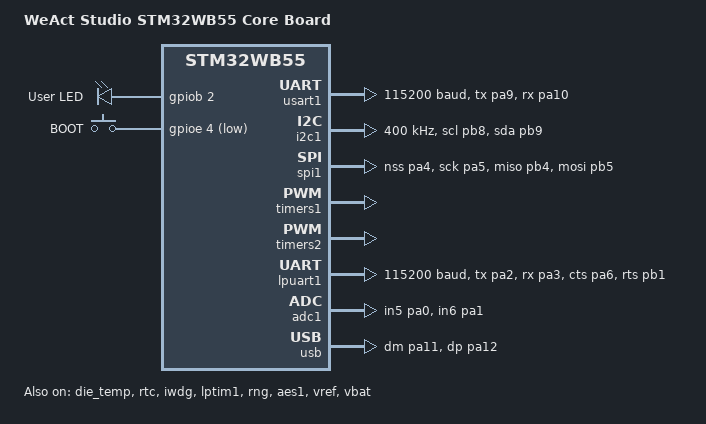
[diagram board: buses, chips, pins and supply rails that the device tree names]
/*
 * Copyright (c) 2025 Siratul Islam
 *
 * SPDX-License-Identifier: Apache-2.0
 */

/dts-v1/;
#include <st/wb/stm32wb55Xg.dtsi>
#include <st/wb/stm32wb55cgux-pinctrl.dtsi>
#include <zephyr/dt-bindings/input/input-event-codes.h>

/ {
	model = "WeAct Studio STM32WB55 Core Board";
	compatible = "weact,stm32wb55-core";

	chosen {
		zephyr,console = &usart1;
		zephyr,shell-uart = &usart1;
		zephyr,bt-mon-uart = &lpuart1;
		zephyr,bt-c2h-uart = &lpuart1;
		zephyr,sram = &sram0;
		zephyr,flash = &flash0;
		zephyr,code-partition = &slot0_partition;
	};

	leds: leds {
		compatible = "gpio-leds";

		blue_led: led_0 {
			gpios = <&gpiob 2 GPIO_ACTIVE_HIGH>;
			label = "User LED";
		};
	};

	gpio_keys {
		compatible = "gpio-keys";

		boot_button: button_0 {
			label = "BOOT";
			gpios = <&gpioe 4 (GPIO_ACTIVE_LOW | GPIO_PULL_UP)>;
			zephyr,code = <INPUT_KEY_0>;
		};
	};

	aliases {
		led0 = &blue_led;
		mcuboot-led0 = &blue_led;
		sw0 = &boot_button;
		mcuboot-button0 = &boot_button;
		watchdog0 = &iwdg;
		die-temp0 = &die_temp;
		volt-sensor0 = &vref;
		volt-sensor1 = &vbat;
	};
};

&die_temp {
	status = "okay";
};

&clk_lsi1 {
	status = "okay";
};

&clk_hse {
	status = "okay";
};

&clk_lse {
	status = "okay";
};

&clk_hsi48 {
	status = "okay";
};

&clk48 {
	/* Node is disabled by default as default source is HSI48 */
	/* To select another clock, enable the node */
	clocks = <&rcc STM32_SRC_HSI48 CLK48_SEL(0)>;
};

&rcc {
	clocks = <&clk_hse>;
	clock-frequency = <DT_FREQ_M(32)>;
	cpu1-prescaler = <1>;
	cpu2-prescaler = <1>;
	ahb4-prescaler = <1>;
	apb1-prescaler = <1>;
	apb2-prescaler = <1>;
};

&usart1 {
	pinctrl-0 = <&usart1_tx_pa9 &usart1_rx_pa10>;
	pinctrl-names = "default";
	current-speed = <115200>;
	status = "okay";
};

&i2c1 {
	pinctrl-0 = <&i2c1_scl_pb8 &i2c1_sda_pb9>;
	pinctrl-names = "default";
	status = "okay";
	clock-frequency = <I2C_BITRATE_FAST>;
};

&rtc {
	clocks = <&rcc STM32_CLOCK(APB1, 10)>,
		 <&rcc STM32_SRC_LSI RTC_SEL(2)>;
	status = "okay";

	backup_regs {
		status = "okay";
	};
};

&spi1 {
	pinctrl-0 = <&spi1_nss_pa4 &spi1_sck_pa5
		     &spi1_miso_pb4 &spi1_mosi_pb5>;
	pinctrl-names = "default";
	status = "okay";
};

&timers1 {
	st,prescaler = <10000>;
	status = "okay";

	pwm1: pwm {
		status = "okay";
		pinctrl-0 = <&tim1_ch1_pa8>;
		pinctrl-names = "default";
	};
};

&timers2 {
	status = "okay";

	pwm2: pwm {
		status = "okay";
		pinctrl-0 = <&tim2_ch1_pa15>;
		pinctrl-names = "default";
	};
};

&lpuart1 {
	pinctrl-0 = <&lpuart1_tx_pa2 &lpuart1_rx_pa3
		     &lpuart1_cts_pa6 &lpuart1_rts_pb1>;
	hw-flow-control;
	pinctrl-names = "default";
	current-speed = <115200>;
	status = "okay";
};

&adc1 {
	pinctrl-0 = <&adc1_in5_pa0 &adc1_in6_pa1>;
	pinctrl-names = "default";
	st,adc-clock-source = "SYNC";
	st,adc-prescaler = <4>;
	status = "okay";
};

&iwdg {
	status = "okay";
};

stm32_lp_tick_source: &lptim1 {
	clocks = <&rcc STM32_CLOCK(APB1, 31)>,
		 <&rcc STM32_SRC_LSE LPTIM1_SEL(3)>;
	status = "okay";
};

zephyr_udc0: &usb {
	status = "okay";
	pinctrl-0 = <&usb_dm_pa11 &usb_dp_pa12>;
	pinctrl-names = "default";
};

&rng {
	status = "okay";
};

&aes1 {
	status = "okay";
};

&flash0 {
	partitions {
		compatible = "fixed-partitions";
		#address-cells = <1>;
		#size-cells = <1>;

		/*
		 * STM32WB55CGU6 Flash Layout (1MB total)
		 *
		 * 0x08000000 - 0x080D9FFF : M4 Application Space (872KB)
		 * 0x080DA000 - 0x080DAFFF : Reserved Gap (4KB)
		 * 0x080DB000 - 0x080FFFFF : M0+ Wireless Stack (148KB)
		 *
		 * Current M0+ Wireless Stack: BLE_HCILayer_extended @ 0x080DB000 V1.23.0
		 *
		 * Wireless Stack Options (STM32WB5xxG 1M):
		 * - BLE_HCILayer_extended: 0x080DB000
		 * - BLE_HCILayer: 0x080E1000
		 * - BLE_HCI_AdvScan: 0x080EB000
		 * - FUS v2.1.0: 0x080EE000
		 *
		 * Reference:
		 * https://github.com/STMicroelectronics/STM32CubeWB/blob/master/Projects/STM32WB_Copro_Wireless_Binaries/STM32WB5x/Release_Notes.html
		 */

		boot_partition: partition@0 {
			label = "mcuboot";
			reg = <0x00000000 DT_SIZE_K(48)>;
		};

		slot0_partition: partition@c000 {
			label = "image-0";
			reg = <0x0000c000 DT_SIZE_K(400)>;
		};

		slot1_partition: partition@70000 {
			label = "image-1";
			reg = <0x00070000 DT_SIZE_K(400)>;
		};

		scratch_partition: partition@d4000 {
			label = "image-scratch";
			reg = <0x000d4000 DT_SIZE_K(16)>;
		};

		storage_partition: partition@d8000 {
			label = "storage";
			reg = <0x000d8000 DT_SIZE_K(8)>;
		};
	};
};

&vref {
	status = "okay";
};

&vbat {
	status = "okay";
};
